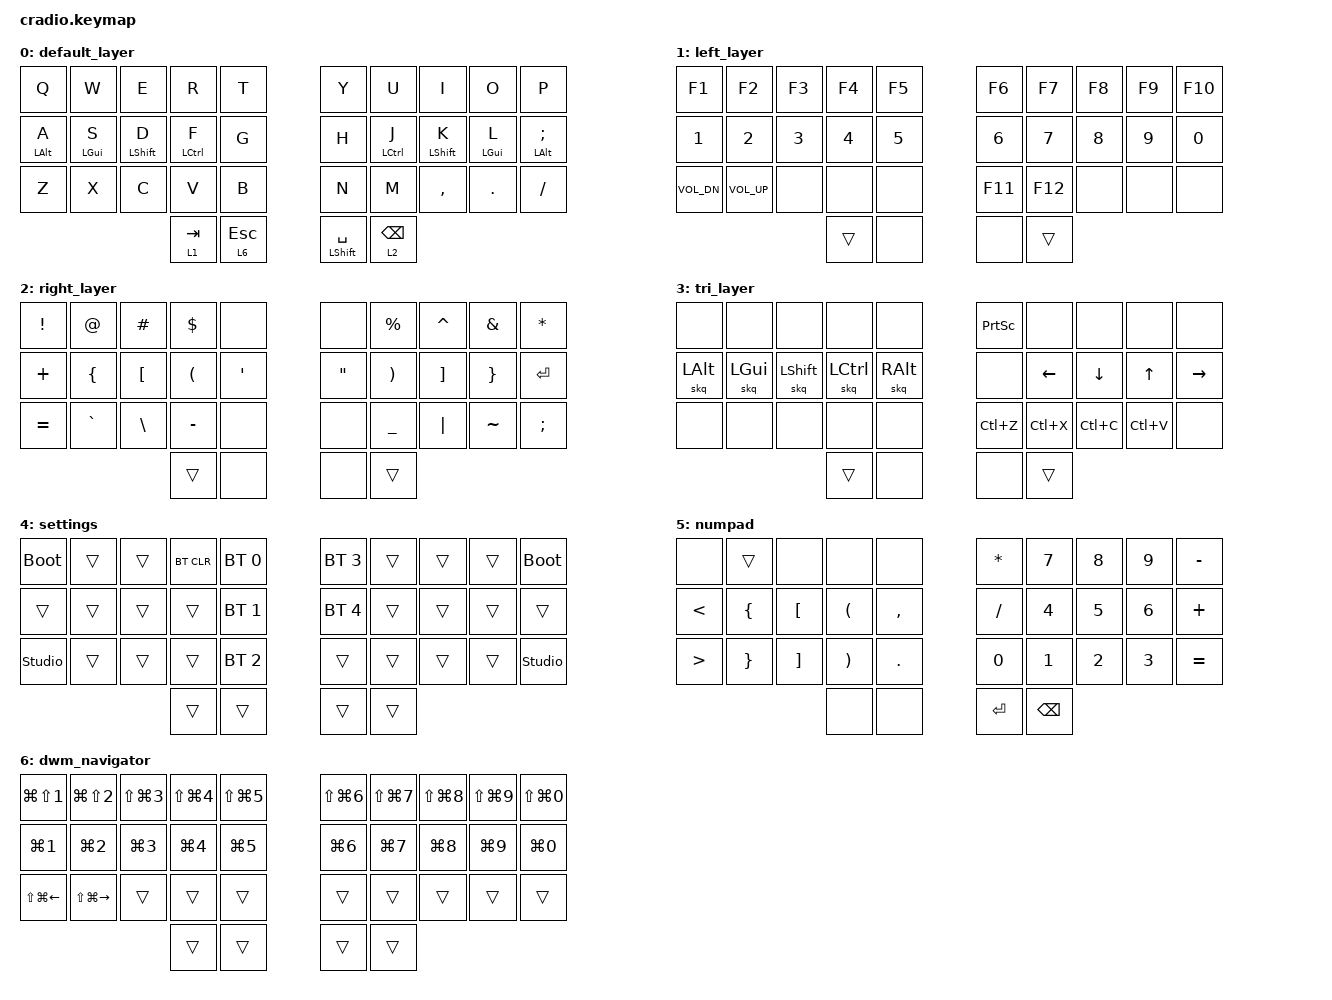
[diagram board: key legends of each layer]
// Copyright (c) 2022 The ZMK Contributors
// SPDX-License-Identifier: MIT

#include <behaviors.dtsi>
#include <dt-bindings/zmk/bt.h>
#include <dt-bindings/zmk/keys.h>

// Home row mods macro
// #define HRML(k1,k2,k3,k4) &ht LSHFT k1  &ht LALT k2  &ht LCTRL k3  &ht LGUI k4
// #define HRMR(k1,k2,k3,k4) &ht RGUI k1  &ht RCTRL k2  &ht RALT k3  &ht RSHFT k4

/ {
    behaviors {
        ht: hold_tap {
            compatible = "zmk,behavior-hold-tap";
            #binding-cells = <2>;
            flavor = "tap-preferred";
            tapping-term-ms = <200>;
            quick-tap-ms = <200>;
            require-prior-idle-ms = <150>;
            bindings = <&kp>, <&kp>;
        };

        sht: special_hold_tap {
            compatible = "zmk,behavior-hold-tap";
            #binding-cells = <2>;
            flavor = "tap-preferred";
            tapping-term-ms = <250>;
            quick-tap-ms = <150>;
            require-prior-idle-ms = <100>;
            bindings = <&kp>, <&kp>;
        };

        skq: sticky_key_quick_release {
            compatible = "zmk,behavior-sticky-key";
            #binding-cells = <1>;
            bindings = <&kp>;
            release-after-ms = <2000>;
            quick-release;
            lazy;
            ignore-modifiers;
        };

        lt: layer_tap {
            compatible = "zmk,behavior-hold-tap";
            #binding-cells = <2>;
            flavor = "tap-preferred";
            tapping-term-ms = <200>;
            quick-tap-ms = <200>;
            bindings = <&mo>, <&kp>;
        };
    };

    conditional_layers {
        compatible = "zmk,conditional-layers";

        tri {
            if-layers = <1 2>;
            then-layer = <3>;
        };
    };

    combos {
        compatible = "zmk,combos";

        settings {
            bindings = <&mo 4>;
            key-positions = <30 31>;
        };

        numpad {
            bindings = <&tog 5>;
            key-positions = <32 33>;
        };
    };

    keymap {
        compatible = "zmk,keymap";

        default_layer {
            bindings = <
&kp Q           &kp W           &kp E             &kp R               &kp T        &kp Y                 &kp U               &kp I             &kp O           &kp P
&ht LEFT_ALT A  &ht LEFT_GUI S  &ht LEFT_SHIFT D  &ht LEFT_CONTROL F  &kp G        &kp H                 &ht LEFT_CONTROL J  &ht LEFT_SHIFT K  &ht LEFT_GUI L  &ht LEFT_ALT SEMI
&kp Z           &kp X           &kp C             &kp V               &kp B        &kp N                 &kp M               &kp COMMA         &kp DOT         &kp SLASH
                                                  &lt 1 TAB           &lt 6 ESC    &ht LEFT_SHIFT SPACE  &lt 2 BSPC
            >;
        };

        left_layer {
            bindings = <
&kp F1        &kp F2        &kp F3  &kp F4  &kp F5    &kp F6   &kp F7   &kp F8  &kp F9  &kp F10
&kp N1        &kp N2        &kp N3  &kp N4  &kp N5    &kp N6   &kp N7   &kp N8  &kp N9  &kp N0
&kp C_VOL_DN  &kp C_VOL_UP  &none   &none   &none     &kp F11  &kp F12  &none   &none   &none
                                    &trans  &none     &none    &trans
            >;
        };

        right_layer {
            bindings = <
&kp EXCL   &kp AT     &kp HASH  &kp DOLLAR  &none      &none    &kp PERCENT  &kp CARET  &kp AMPS   &kp ASTRK
&kp PLUS   &kp LBRC   &kp LBKT  &kp LPAR    &kp SQT    &kp DQT  &kp RPAR     &kp RBKT   &kp RBRC   &kp ENTER
&kp EQUAL  &kp GRAVE  &kp BSLH  &kp MINUS   &none      &none    &kp UNDER    &kp PIPE   &kp TILDE  &kp SEMICOLON
                                &trans      &none      &none    &trans
            >;
        };

        tri_layer {
            bindings = <
&none      &none      &none       &none       &none             &kp PRINTSCREEN  &none      &none      &none      &none
&skq LALT  &skq LGUI  &skq LSHFT  &skq LCTRL  &skq RIGHT_ALT    &none            &kp LEFT   &kp DOWN   &kp UP     &kp RIGHT
&none      &none      &none       &none       &none             &kp LC(Z)        &kp LC(X)  &kp LC(C)  &kp LC(V)  &none
                                  &trans      &none             &none            &trans
            >;
        };

        settings {
            bindings = <
&bootloader     &trans  &trans  &bt BT_CLR  &bt BT_SEL 0    &bt BT_SEL 3  &trans  &trans  &trans  &bootloader
&trans          &trans  &trans  &trans      &bt BT_SEL 1    &bt BT_SEL 4  &trans  &trans  &trans  &trans
&studio_unlock  &trans  &trans  &trans      &bt BT_SEL 2    &trans        &trans  &trans  &trans  &studio_unlock
                                &trans      &trans          &trans        &trans
            >;
        };

        numpad {
            bindings = <
&none             &trans           &none              &none                  &none         &kp ASTERISK  &kp N7         &kp N8  &kp N9  &kp MINUS
&kp LESS_THAN     &kp LEFT_BRACE   &kp LEFT_BRACKET   &kp LEFT_PARENTHESIS   &kp COMMA     &kp SLASH     &kp N4         &kp N5  &kp N6  &kp PLUS
&kp GREATER_THAN  &kp RIGHT_BRACE  &kp RIGHT_BRACKET  &kp RIGHT_PARENTHESIS  &kp PERIOD    &kp N0        &kp N1         &kp N2  &kp N3  &kp EQUAL
                                                      &none                  &none         &kp RET       &kp BACKSPACE
            >;
        };

        dwm_navigator {
            bindings = <
&kp LG(LS(N1))          &kp LG(LS(N2))     &kp LS(LG(N3))  &kp LS(LG(N4))  &kp LS(LG(N5))    &kp LS(LG(N6))  &kp LS(LG(N7))  &kp LS(LG(N8))  &kp LS(LG(N9))  &kp LS(LG(N0))
&kp LG(N1)              &kp LG(N2)         &kp LG(N3)      &kp LG(N4)      &kp LG(N5)        &kp LG(N6)      &kp LG(N7)      &kp LG(N8)      &kp LG(N9)      &kp LG(N0)
&kp LS(LG(LEFT_ARROW))  &kp LS(LG(RIGHT))  &trans          &trans          &trans            &trans          &trans          &trans          &trans          &trans
                                                           &trans          &trans            &trans          &trans
            >;
        };
    };
};
